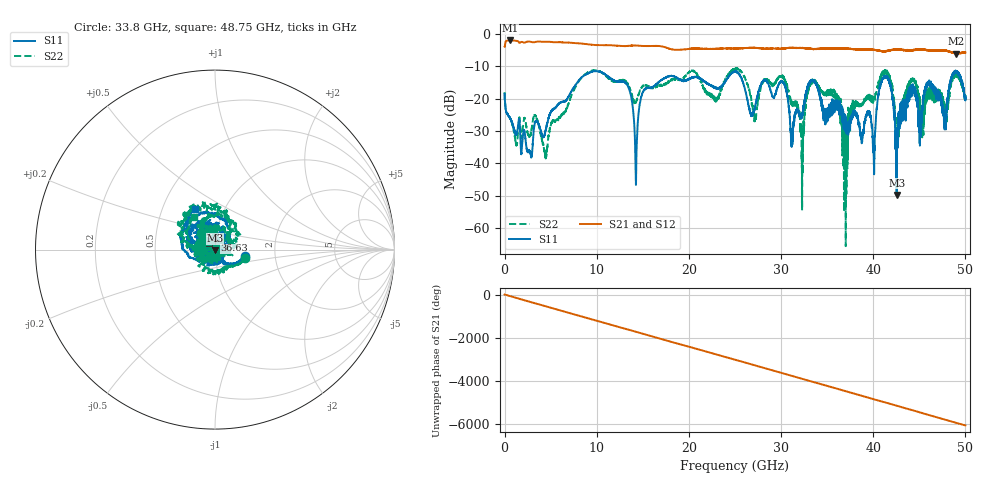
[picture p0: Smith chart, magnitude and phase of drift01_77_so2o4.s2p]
!Created with skrf (http://scikit-rf.org).
# Hz S RI R 50.0
!freq ReS11 ImS11 ReS21 ImS21 ReS12 ImS12 ReS22 ImS22
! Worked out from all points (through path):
!   10001 points, 300 kHz to 50 GHz, reference 50 ohm
!   highest |S21| = -2.00 dB at 575.3 MHz (marker M1); lowest = -6.1 dB at 48.98 GHz (marker M2)
!   group delay of S21, straight-line fit = 336 ps
!   lowest |S11| = -49.8 dB at 42.54 GHz (marker M3), VSWR 1.01, Z = 49.9 - j0.32 ohm
!   |S11| at or under -10 dB: start of sweep to end of sweep
!   |S22| runs from -65.6 to -10.6 dB; largest |S21 - S12| = 0.021
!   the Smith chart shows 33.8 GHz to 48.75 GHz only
!   S11 on the Smith chart (normalised r, x): 33.8 GHz: 1.40, -0.10; 36.63 GHz: 0.99, +0.10; 48.75 GHz: 0.73, +0.35
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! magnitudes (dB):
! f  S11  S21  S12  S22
! 300 kHz  -18.4  -4.0  -4.0  -18.0
! 575.3 MHz  -26.0  -2.0  -2.0  -25.9
! 4.445 GHz  -29.8  -2.4  -2.4  -37.9
! 8.335 GHz  -13.5  -3.0  -2.9  -13.5
! 13.17 GHz  -15.2  -3.7  -3.7  -14.6
! 14.25 GHz  -46.6  -3.6  -3.6  -21.2
! 16.67 GHz  -14.9  -3.7  -3.7  -15.9
! 25 GHz  -11.6  -4.5  -4.5  -10.8
! 27.18 GHz  -22.3  -4.3  -4.3  -25.8
! 30.22 GHz  -14.9  -4.5  -4.5  -13.3
! 31.16 GHz  -32.5  -4.3  -4.3  -20.9
! 32.28 GHz  -24.8  -4.3  -4.3  -54.5
! 33.34 GHz  -14.2  -4.6  -4.6  -14.5
! 33.8 GHz  -15.4  -4.7  -4.7  -15.2
! 36.63 GHz  -25.8  -4.5  -4.5  -27.8
! 40.04 GHz  -35.8  -4.9  -4.9  -19.9
! 41.67 GHz  -13.8  -5.1  -5.1  -13.1
! 42.54 GHz  -49.8  -4.8  -4.8  -34.9
! 44.1 GHz  -17.6  -5.0  -5.0  -13.9
! 48.75 GHz  -12.0  -5.8  -5.8  -13.4
! 48.98 GHz  -11.4  -6.1  -6.0  -12.5
! 50 GHz  -19.7  -5.7  -5.8  -19.0
